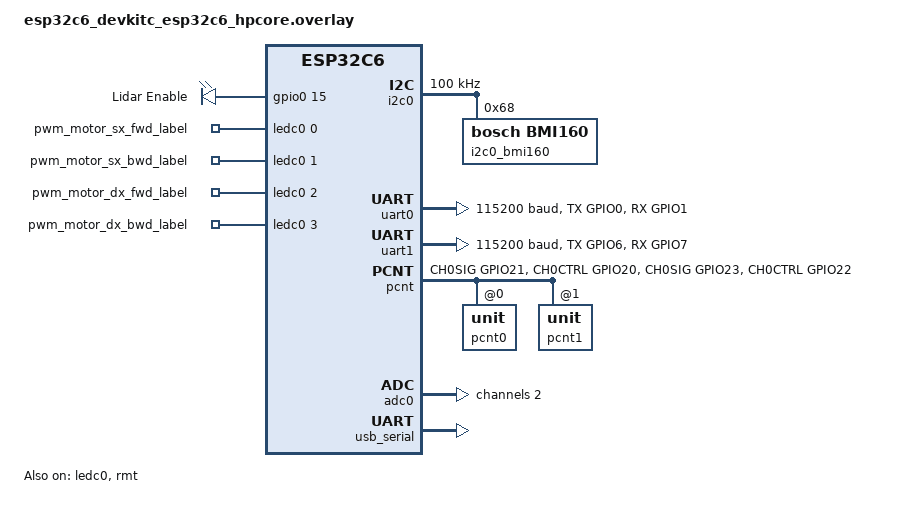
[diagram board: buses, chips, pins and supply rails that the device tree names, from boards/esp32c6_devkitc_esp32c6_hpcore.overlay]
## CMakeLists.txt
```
cmake_minimum_required(VERSION 3.20.0)

find_package(Zephyr REQUIRED HINTS $ENV{ZEPHYR_BASE})
project(robot_app)

set(DTS_ROOT ${CMAKE_CURRENT_SOURCE_DIR})

list(APPEND CMAKE_MODULE_PATH ${ZEPHYR_BASE}/modules/nanopb)
include(nanopb)

target_sources(app PRIVATE 
    src/main.cpp
    src/robot.cpp
    src/communication/zephyr_net_client.cpp
    src/communication/wifi_manager.cpp
    src/communication/protobuf_handler.cpp
    src/actuator/motor.cpp
    src/actuator/status_led.cpp
    src/diagnostic.cpp
    src/sensors/lidar.cpp
    src/sensors/imu.cpp
    src/sensors/battery.cpp
    src/sensors/encoders.cpp
    src/sensors/pcnt_reader.c
)

zephyr_nanopb_sources(app ../../proto/messages.proto)

target_include_directories(app PRIVATE src)
zephyr_include_directories(include)
add_subdirectory(drivers)

target_compile_options(app PRIVATE -fno-threadsafe-statics -fpermissive)
```

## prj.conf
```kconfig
# General config
CONFIG_PICOLIBC=y
CONFIG_CPP=y
CONFIG_STD_CPP20=y
CONFIG_FPU=n

# Bootloader (Using ESP Simple Boot for C6)
CONFIG_ESP_SIMPLE_BOOT=y
CONFIG_ESPTOOLPY_FLASHFREQ_40M=y
CONFIG_ESPTOOLPY_FLASHMODE_DIO=y
CONFIG_MAIN_STACK_SIZE=16384
CONFIG_IDLE_STACK_SIZE=2048
CONFIG_ISR_STACK_SIZE=4096
CONFIG_SYSTEM_WORKQUEUE_STACK_SIZE=8192
CONFIG_HEAP_MEM_POOL_SIZE=131072

# Logging
CONFIG_LOG=y
CONFIG_LOG_MODE_IMMEDIATE=y
CONFIG_LOG_DEFAULT_LEVEL=3
CONFIG_LOG_BACKEND_UART=y
CONFIG_LOG_PRINTK=y

# Console
CONFIG_CONSOLE=y
CONFIG_UART_CONSOLE=y
CONFIG_UART_ESP32=y
CONFIG_PRINTK=y
CONFIG_BOOT_BANNER=y

# Give the USB bridge time
CONFIG_BOOT_DELAY=500

# SERIAL (Internal USB-Serial-JTAG for /dev/ttyACM0)
CONFIG_SERIAL=y
CONFIG_UART_INTERRUPT_DRIVEN=y
CONFIG_SERIAL_ESP32_USB=y
CONFIG_UART_CONSOLE=y
CONFIG_UART_ESP32=y
CONFIG_LOG_BACKEND_UART=y

# Networking
CONFIG_NETWORKING=y
CONFIG_NET_L2_WIFI_MGMT=y
CONFIG_WIFI=y
CONFIG_WIFI_ESP32=y
CONFIG_NET_IPV4=y
CONFIG_NET_TCP=y
CONFIG_NET_UDP=y
CONFIG_NET_SOCKETS=y
CONFIG_NET_STATISTICS=y
CONFIG_NET_HOSTNAME_ENABLE=y
CONFIG_NET_HOSTNAME="robot.luca.home.arpa"

# WiFi static config via Manager
CONFIG_NET_CONFIG_SETTINGS=y
CONFIG_NET_CONFIG_MY_IPV4_ADDR="192.168.199.123"
CONFIG_NET_CONFIG_MY_IPV4_GW="192.168.199.254"
CONFIG_NET_CONFIG_MY_IPV4_NETMASK="255.255.255.0"

# Sensors
CONFIG_SENSOR=y
CONFIG_I2C=y
CONFIG_BMI160=y
CONFIG_BMI160_TRIGGER_NONE=y

# Peripherals
CONFIG_PWM=y
CONFIG_GPIO=y
CONFIG_ADC=y
CONFIG_PCNT_ESP32=y

# RMT LED
CONFIG_RMT_TX=y
CONFIG_RMT_TX_ESP32=y
CONFIG_RMT_TX_LOG_LEVEL_DBG=y
CONFIG_RMT_TX_INIT_PRIORITY=80
CONFIG_RMT_TX_CHANNEL_INIT_PRIORITY=90

# Protobuf (nanopb)
CONFIG_NANOPB=y
```

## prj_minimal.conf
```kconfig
# Minimal config for boot troubleshooting
CONFIG_NEWLIB_LIBC=y
CONFIG_CPP=y
CONFIG_STD_CPP20=y
CONFIG_FPU=n

# Bootloader
CONFIG_ESP_SIMPLE_BOOT=y
CONFIG_HEAP_MEM_POOL_SIZE=2048

# Logging
CONFIG_LOG=y
CONFIG_LOG_DEFAULT_LEVEL=4
CONFIG_LOG_MODE_IMMEDIATE=y
CONFIG_LOG_BACKEND_UART=y

# DISABLE EVERYTHING ELSE
CONFIG_NETWORKING=n
CONFIG_SENSOR=n
CONFIG_I2C=n
CONFIG_PWM=n
CONFIG_GPIO=y
CONFIG_ADC=n
CONFIG_PCNT_ESP32=n
CONFIG_NANOPB=n
```

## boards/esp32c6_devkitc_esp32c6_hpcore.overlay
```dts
#include <zephyr/dt-bindings/pinctrl/esp-pinctrl-common.h>
#include <zephyr/dt-bindings/pinctrl/esp32c6-pinctrl.h>
#include <zephyr/dt-bindings/pinctrl/esp32c6-gpio-sigmap.h>
#include <zephyr/dt-bindings/pwm/pwm.h>

/ {
    chosen {
        zephyr,console = &uart0;
        zephyr,shell-uart = &uart0;
    };

    /* Aliases for easy access in code */
    aliases {
        lidar-uart = &uart1;
        imu = &i2c0_bmi160;
        motor-sx-fwd-pwm = &pwm_motor_sx_fwd_label;
        motor-sx-bwd-pwm = &pwm_motor_sx_bwd_label;
        motor-dx-fwd-pwm = &pwm_motor_dx_fwd_label;
        motor-dx-bwd-pwm = &pwm_motor_dx_bwd_label;
        encoder-sx = &pcnt;
        encoder-dx = &pcnt;
        status-led = &rmt_led;
        lidar-en = &lidar_en_gpio;
    };

    soc {
        rmt: rmt@60006000 {
            compatible = "espressif,esp32-rmt-tx";
            reg = <0x60006000 0x1000>;
            interrupts = <10 0 0>;
            interrupt-parent = <&intc>;
            clocks = <&clock 9>;
            #address-cells = <1>;
            #size-cells = <0>;
            status = "okay";
            pinctrl-0 = <&rmt_default>;
            pinctrl-names = "default";

            rmt_led: channel@0 {
                reg = <0>;
                label = "rmt_led";
                gpios = <&gpio0 8 GPIO_ACTIVE_HIGH>;
            };
        };
    };

    lidar_ctrl {
        compatible = "gpio-leds";
        lidar_en_gpio: lidar_en {
            gpios = <&gpio0 15 GPIO_ACTIVE_HIGH>;
            label = "Lidar Enable";
        };
    };

    pwm_motors {
        compatible = "pwm-leds";
        pwm_motor_sx_fwd_label: motor_sx_fwd {
            pwms = <&ledc0 0 50000 PWM_POLARITY_NORMAL>;
        };
        pwm_motor_sx_bwd_label: motor_sx_bwd {
            pwms = <&ledc0 1 50000 PWM_POLARITY_NORMAL>;
        };
        pwm_motor_dx_fwd_label: motor_dx_fwd {
            pwms = <&ledc0 2 50000 PWM_POLARITY_NORMAL>;
        };
        pwm_motor_dx_bwd_label: motor_dx_bwd {
            pwms = <&ledc0 3 50000 PWM_POLARITY_NORMAL>;
        };
    };
};

&pinctrl {
    i2c0_default: i2c0_default {
        group1 {
            pinmux = <I2C0_SDA_GPIO4>,
                     <I2C0_SCL_GPIO5>;
            bias-pull-up;
            drive-open-drain;
            output-enable;
        };
    };

    uart0_default: uart0_default {
        group1 {
            pinmux = <UART0_TX_GPIO0>,
                     <UART0_RX_GPIO1>;
        };
    };

    uart0_sleep: uart0_sleep {
        group1 {
            pinmux = <UART0_TX_GPIO0>,
                     <UART0_RX_GPIO1>;
        };
    };

    uart1_default: uart1_default {
        group1 {
            pinmux = <UART1_TX_GPIO6>;
        };
        group2 {
            pinmux = <UART1_RX_GPIO7>;
            bias-pull-up;
        };
    };

    uart1_sleep: uart1_sleep {
        group1 {
            pinmux = <UART1_TX_GPIO6>,
                     <UART1_RX_GPIO7>;
        };
    };

    ledc0_default: ledc0_default {
        group1 {
            pinmux = <LEDC_CH0_GPIO19>,
                     <LEDC_CH1_GPIO18>,
                     <LEDC_CH2_GPIO11>,
                     <LEDC_CH3_GPIO10>;
            output-enable;
        };
    };

    pcnt_default: pcnt_default {
        group1 {
            pinmux = <PCNT0_CH0SIG_GPIO21>,
                     <PCNT0_CH0CTRL_GPIO20>,
                     <PCNT1_CH0SIG_GPIO23>,
                     <PCNT1_CH0CTRL_GPIO22>;
            bias-pull-up;
        };
    };

    rmt_default: rmt_default {
        group1 {
            pinmux = <ESP32_PINMUX(8, ESP_NOSIG, ESP_RMT_SIG_OUT0)>;
            output-enable;
        };
    };
};

&i2c0 {
    status = "okay";
    pinctrl-0 = <&i2c0_default>;
    pinctrl-names = "default";
    clock-frequency = <I2C_BITRATE_STANDARD>;

    i2c0_bmi160: bmi160@68 {
        compatible = "bosch,bmi160";
        reg = <0x68>;
        status = "okay";
    };
};

&uart0 {
    status = "okay";
    pinctrl-0 = <&uart0_default>;
    pinctrl-1 = <&uart0_sleep>;
    pinctrl-names = "default", "sleep";
    current-speed = <115200>;
};

&uart1 {
    status = "okay";
    pinctrl-0 = <&uart1_default>;
    pinctrl-1 = <&uart1_sleep>;
    pinctrl-names = "default", "sleep";
    current-speed = <115200>;
};

&ledc0 {
    status = "okay";
    pinctrl-0 = <&ledc0_default>;
    pinctrl-names = "default";
    #address-cells = <1>;
    #size-cells = <0>;

    pwm_motor_sx_fwd: channel@0 {
        reg = <0>;
        timer = <0>;
    };

    pwm_motor_sx_bwd: channel@1 {
        reg = <1>;
        timer = <0>;
    };

    pwm_motor_dx_fwd: channel@2 {
        reg = <2>;
        timer = <0>;
    };

    pwm_motor_dx_bwd: channel@3 {
        reg = <3>;
        timer = <0>;
    };
};

&pcnt {
    pinctrl-0 = <&pcnt_default>;
    pinctrl-names = "default";
    status = "okay";
    #address-cells = <1>;
    #size-cells = <0>;
    pcnt0: unit@0 {
        reg = <0>;
        #address-cells = <1>;
        #size-cells = <0>;
        filter = <100>;
        channelA@0 {
            reg = <0>;
            sig-pos-mode = <2>;
            sig-neg-mode = <1>;
            ctrl-h-mode = <0>;
            ctrl-l-mode = <1>;
        };
    };
    pcnt1: unit@1 {
        reg = <1>;
        #address-cells = <1>;
        #size-cells = <0>;
        filter = <100>;
        channelA@0 {
            reg = <0>;
            sig-pos-mode = <2>;
            sig-neg-mode = <1>;
            ctrl-h-mode = <0>;
            ctrl-l-mode = <1>;
        };
    };
};

&adc0 {
    status = "okay";
    #address-cells = <1>;
    #size-cells = <0>;

    channel@2 {
        reg = <2>;
        zephyr,gain = "ADC_GAIN_1_4";
        zephyr,reference = "ADC_REF_INTERNAL";
        zephyr,acquisition-time = <ADC_ACQ_TIME_DEFAULT>;
        zephyr,resolution = <12>;
    };
};

&usb_serial {
    status = "okay";
};
```

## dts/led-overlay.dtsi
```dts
// Device tree overlay for LED definition for T-Watch S3 board

/ {
        aliases {
                led0 = &led_gpio0;
        };

        led_gpio0: led_gpio0 {
                compatible = "gpio-leds";
                led0_gpio {
                        gpios = <&gpio0 45 GPIO_ACTIVE_HIGH>;
                        label = "Onboard LED";
                };
        };
};
```

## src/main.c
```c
#include <zephyr/kernel.h>

extern int esp_rom_printf(const char *fmt, ...);

int main(void)
{
    while (1) {
        for (volatile int i = 0; i < 5000000; i++);
        esp_rom_printf("ALIVE ROM\n");
    }
    return 0;
}
```

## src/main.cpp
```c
#include <zephyr/kernel.h>
#include <zephyr/sys/printk.h>
#include "robot.h"
#include "constants.h"

extern "C" {
#include <esp_rom_sys.h>
}

static Robot robot;

extern "C" int main(void)
{
    esp_rom_printf("\n\n--- HomeRobot Zephyr Entry Point ---\n");
    k_sleep(K_MSEC(500));

    robot.setup();

    while (1) {
        robot.loop();
        k_msleep(constants::MAIN_LOOP_DELAY_MS);
    }

	return 0;
}
```

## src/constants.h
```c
#pragma once

#include <zephyr/kernel.h>

namespace constants {
    // Telemetry Intervals (milliseconds)
    constexpr uint32_t HEARTBEAT_INTERVAL_MS = 1000;
    constexpr uint32_t ENCODER_TELEMETRY_INTERVAL_MS = 1000;
    constexpr uint32_t BATTERY_TELEMETRY_INTERVAL_MS = 30000;
    
    // Lidar Configuration
    constexpr size_t LIDAR_BATCH_SIZE = 30;
    constexpr float LIDAR_DEFAULT_FREQ_HZ = 5.0f;

    // Networking
    constexpr uint32_t WIFI_CONNECT_TIMEOUT_MS = 30000;
    constexpr uint32_t SERVER_RECONNECT_INTERVAL_MS = 5000;

    // Main Loop
    constexpr uint32_t MAIN_LOOP_DELAY_MS = 10; // 100Hz loop
}
```

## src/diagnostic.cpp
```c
#include "diagnostic.h"
#include <zephyr/logging/log.h>
#include <zephyr/kernel.h>
#include <math.h>
#include <stdio.h>
#include <string.h>

LOG_MODULE_REGISTER(Diagnostic, LOG_LEVEL_INF);

Diagnostic::Diagnostic(Motor& left_motor, Motor& right_motor, Imu& imu, 
                       Battery& battery, StatusLed& led)
    : left_motor_(left_motor), right_motor_(right_motor), imu_(imu), 
      battery_(battery), led_(led) {}

void Diagnostic::add_check(homerobot_DiagnosticResult& result, const char* name, bool success, const char* msg) {
    if (result.checks_count < 5) {
        homerobot_DiagnosticCheck& check = result.checks[result.checks_count++];
        strncpy(check.name, name, sizeof(check.name) - 1);
        check.name[sizeof(check.name) - 1] = '\0';
        check.success = success;
        strncpy(check.message, msg, sizeof(check.message) - 1);
        check.message[sizeof(check.message) - 1] = '\0';
    }
}

homerobot_DiagnosticResult Diagnostic::run_rpc() {
    homerobot_DiagnosticResult result = homerobot_DiagnosticResult_init_default;
    result.checks_count = 0;
    
    // Stop motors and lidar before test
    left_motor_.turn_off();
    right_motor_.turn_off();

    bool battery_ok = test_battery(&result);
    bool imu_ok = test_imu(&result);
    bool motors_ok = false;

    if (battery_ok) {
        motors_ok = test_motors_and_encoders(&result);
    } else {
        add_check(result, "Motors", false, "Skipped due to low battery");
    }

    result.all_ok = battery_ok && imu_ok && motors_ok;
    return result;
}

bool Diagnostic::run_all() {
    LOG_INF( "--- STARTING HARDWARE DIAGNOSTICS ---");
    
    // 1. LED Test: Visual confirmation
    led_.set_color(0, 0, 50); // Blue for "Testing"
    k_msleep(500);
    led_.set_color(0, 50, 0); // Green for "Starting"
    k_msleep(500);
    led_.set_color(0, 0, 0);

    bool battery_ok = test_battery();
    bool imu_ok = test_imu();
    
    if (!battery_ok) {
        LOG_ERR( "Critical: Battery test failed!");
        led_.set_color(50, 0, 0); // Solid Red
        return false;
    }

    if (!imu_ok) {
        LOG_WRN( "Warning: IMU test failed!");
    }

    bool motors_ok = test_motors_and_encoders();

    if (battery_ok && imu_ok && motors_ok) {
        LOG_INF( "--- DIAGNOSTICS COMPLETED: ALL OK ---");
        led_.set_color(0, 50, 0); // Success Green
        k_msleep(1000);
        return true;
    } else {
        LOG_WRN( "--- DIAGNOSTICS COMPLETED: ERRORS FOUND ---");
        led_.set_color(50, 25, 0); // Warning Orange
        k_msleep(1000);
        return false;
    }
}

bool Diagnostic::test_battery(homerobot_DiagnosticResult* result) {
    uint32_t mv = battery_.get_voltage_mv();
    uint32_t pct = battery_.get_percentage();
    LOG_INF( "Battery: %u mV (%u%%)", mv, pct);

    char msg[128];
    snprintf(msg, sizeof(msg), "Voltage: %u mV, %u%%", mv, pct);

    if (mv < 10000) { 
        LOG_ERR( "Battery voltage dangerously low or not detected!");
        if (result) add_check(*result, "Battery", false, msg);
        return false;
    }
    if (result) add_check(*result, "Battery", true, msg);
    return true;
}

bool Diagnostic::test_imu(homerobot_DiagnosticResult* result) {
    LOG_INF("IMU: Starting detailed check...");
    if (!imu_.update()) {
        LOG_ERR( "IMU: Communication failed! (sample_fetch error)");
        if (result) add_check(*result, "IMU", false, "Communication failed");
        return false;
    }

    float ax, ay, az, gx, gy, gz;
    imu_.get_accel(ax, ay, az);
    imu_.get_gyro(gx, gy, gz);
    
    float total_g = sqrt(ax*ax + ay*ay + az*az);
    
    LOG_INF("IMU: Raw Accel -> X: %.3f, Y: %.3f, Z: %.3f (Total: %.3f m/s^2)", (double)ax, (double)ay, (double)az, (double)total_g);
    LOG_INF("IMU: Raw Gyro  -> X: %.3f, Y: %.3f, Z: %.3f", (double)gx, (double)gy, (double)gz);

    char msg[128];
    snprintf(msg, sizeof(msg), "Acc:%.1f G:%.1f Gyro:%.1f", (double)total_g, (double)(total_g/9.81), (double)sqrt(gx*gx + gy*gy + gz*gz));

    if (total_g < 7.0f || total_g > 13.0f) {
        LOG_WRN( "IMU: Gravity vector (%.2f) outside Earth normal range [7, 13]", (double)total_g);
        if (result) add_check(*result, "IMU", false, msg);
        return false;
    }
    
    LOG_INF("IMU: Sensor health OK.");
    if (result) add_check(*result, "IMU", true, msg);
    return true;
}

bool Diagnostic::test_motors_and_encoders(homerobot_DiagnosticResult* result) {
    LOG_INF( "Starting Motor/Encoder sequential test...");
    
    bool left_ok = test_single_motor(left_motor_, "Left Motor (SX)", result);
    k_msleep(500); // Brief pause between motor tests
    bool right_ok = test_single_motor(right_motor_, "Right Motor (DX)", result);

    return left_ok && right_ok;
}

bool Diagnostic::test_single_motor(Motor& motor, const char* name, homerobot_DiagnosticResult* result) {
    LOG_INF( "Testing %s...", name);
    
    // Get baseline IMU for vibration detection
    imu_.update();
    float bax, bay, baz;
    imu_.get_accel(bax, bay, baz);
    
    VibrationMetrics vib;
    vib.reset();

    motor.set_position(0);
    int32_t start_pos = motor.get_position();
    
    // Forward test
    motor.set_motor(FORWARD, 100);
    for (int i = 0; i < 5; i++) {
        k_msleep(100);
        sample_vibration(vib, bax, bay, baz);
    }
    
    motor.set_motor(BRAKE, 0);
    k_msleep(200);
    int32_t fwd_pos = motor.get_position();
    int32_t fwd_diff = fwd_pos - start_pos;
    
    // Backward test
    motor.set_motor(BACKWARD, 100);
    for (int i = 0; i < 5; i++) {
        k_msleep(100);
        sample_vibration(vib, bax, bay, baz);
    }

    motor.set_motor(BRAKE, 0);
    k_msleep(200);
    int32_t bwd_pos = motor.get_position();
    int32_t bwd_diff = bwd_pos - fwd_pos;
    
    bool fwd_ok = fwd_diff > 10;
    bool bwd_ok = bwd_diff < -10;
    
    // Health assessment based on vibration
    // Values are heuristic: > 5.0g deviation is very high, > 20 rad/s gyro is very high.
    bool vib_ok = vib.max_acc_vibration < 5.0f && vib.max_gyro_vibration < 15.0f;

    char msg[128];
    snprintf(msg, sizeof(msg), "Fwd:%d Bwd:%d Vib:%.1f/%.1f", 
             fwd_diff, bwd_diff, (double)vib.max_acc_vibration, (double)vib.max_gyro_vibration);

    if (!fwd_ok || !bwd_ok) {
        LOG_ERR( "%s: Failed motion test (%s)", name, msg);
        if (result) add_check(*result, name, false, msg);
        return false;
    }

    if (!vib_ok) {
        LOG_WRN( "%s: High vibration detected! (%s)", name, msg);
        // We still pass the test but report the warning in the message
    }

    if (result) add_check(*result, name, true, msg);
    return true;
}

void Diagnostic::sample_vibration(VibrationMetrics& metrics, float bax, float bay, float baz) {
    if (imu_.update()) {
        float ax, ay, az, gx, gy, gz;
        imu_.get_accel(ax, ay, az);
        imu_.get_gyro(gx, gy, gz);
        
        // Deviation from baseline gravity vector
        float dev_acc = sqrtf(powf(ax - bax, 2) + powf(ay - bay, 2) + powf(az - baz, 2));
        float dev_gyro = sqrtf(gx*gx + gy*gy + gz*gz);
        
        if (dev_acc > metrics.max_acc_vibration) metrics.max_acc_vibration = dev_acc;
        if (dev_gyro > metrics.max_gyro_vibration) metrics.max_gyro_vibration = dev_gyro;

        LOG_DBG( "  [Vib Sample] Acc Dev: %.2f Gyro: %.2f", (double)dev_acc, (double)dev_gyro);
    }
}
```

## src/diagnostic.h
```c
#pragma once

#include "actuator/motor.h"
#include "actuator/status_led.h"
#include "sensors/imu.h"
#include "sensors/battery.h"
#include "sensors/encoders.h"
#include <messages.pb.h>

class Diagnostic {
public:
    Diagnostic(Motor& left_motor, Motor& right_motor, Imu& imu, 
               Battery& battery, StatusLed& led);

    /**
     * @brief Runs the full suite of hardware diagnostics.
     * @return true if all critical tests pass, false otherwise.
     */
    bool run_all();

    /**
     * @brief Runs the diagnostics and returns the result as a Protobuf struct.
     */
    homerobot_DiagnosticResult run_rpc();

private:
    Motor &left_motor_, &right_motor_;
    Imu &imu_;
    Battery &battery_;
    StatusLed &led_;

    void add_check(homerobot_DiagnosticResult& result, const char* name, bool success, const char* msg);

    bool test_battery(homerobot_DiagnosticResult* result = nullptr);
    bool test_imu(homerobot_DiagnosticResult* result = nullptr);
    bool test_motors_and_encoders(homerobot_DiagnosticResult* result = nullptr);
    
    // Helper for individual motor test
    bool test_single_motor(Motor& motor, const char* name, homerobot_DiagnosticResult* result = nullptr);
    
    struct VibrationMetrics {
        float max_acc_vibration = 0; // Max deviation from baseline
        float max_gyro_vibration = 0;
        void reset() { max_acc_vibration = 0; max_gyro_vibration = 0; }
    };

    void sample_vibration(VibrationMetrics& metrics, float baseline_ax, float baseline_ay, float baseline_az);
};
```

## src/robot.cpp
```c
#include "robot.h"
#include <zephyr/logging/log.h>
#include <zephyr/sys/printk.h>
#include "secrets.h"
#include "constants.h"

LOG_MODULE_REGISTER(robot, LOG_LEVEL_INF);

using namespace constants;

// Define static DT specs
const struct device *const Robot::lidar_uart_dev = DEVICE_DT_GET(DT_ALIAS(lidar_uart));
const struct gpio_dt_spec Robot::lidar_en_gpio = GPIO_DT_SPEC_GET(DT_ALIAS(lidar_en), gpios);
const struct device *const Robot::adc_dev = DEVICE_DT_GET(DT_NODELABEL(adc0));
const struct device *const Robot::imu_dev = DEVICE_DT_GET(DT_ALIAS(imu));
const struct pwm_dt_spec Robot::motor_sx_fwd = PWM_DT_SPEC_GET(DT_ALIAS(motor_sx_fwd_pwm));
const struct pwm_dt_spec Robot::motor_sx_bwd = PWM_DT_SPEC_GET(DT_ALIAS(motor_sx_bwd_pwm));
const struct pwm_dt_spec Robot::motor_dx_fwd = PWM_DT_SPEC_GET(DT_ALIAS(motor_dx_fwd_pwm));
const struct pwm_dt_spec Robot::motor_dx_bwd = PWM_DT_SPEC_GET(DT_ALIAS(motor_dx_bwd_pwm));
const struct device *const Robot::encoder_dev = DEVICE_DT_GET(DT_ALIAS(encoder_sx));

Robot::Robot()
    : status_led_(),
      battery_(adc_dev, 2),
      lidar_(lidar_uart_dev, &lidar_en_gpio),
      imu_(imu_dev),
      enc_sx_(encoder_dev, 0),
      enc_dx_(encoder_dev, 1),
      motor_sx_("SX", &motor_sx_fwd, &motor_sx_bwd, &enc_sx_),
      motor_dx_("DX", &motor_dx_fwd, &motor_dx_bwd, &enc_dx_),
      wifi_(WifiManager::instance()),
      net_client_(),
      proto_handler_(net_client_),
      diagnostic_(motor_sx_, motor_dx_, imu_, battery_, status_led_) {
    LOG_DBG("Robot object constructed");
}

void Robot::setup() {
    LOG_INF("--- Robot State Machine Starting ---");
    status_led_.init();
    battery_.init();
    LOG_INF("Initial State: %s", state_to_string(state_));
}

void Robot::set_state(RobotState new_state) {
    if (state_ == new_state) return;
    LOG_INF("State Transition: %s -> %s", state_to_string(state_), state_to_string(new_state));
    state_ = new_state;
}

const char* Robot::state_to_string(RobotState state) {
    switch (state) {
        case RobotState::POWER_CHECK: return "POWER_CHECK";
        case RobotState::INITIALIZE_HARDWARE: return "INITIALIZE_HARDWARE";
        case RobotState::WIFI_CONNECTING: return "WIFI_CONNECTING";
        case RobotState::SERVER_CONNECTING: return "SERVER_CONNECTING";
        case RobotState::OPERATIONAL: return "OPERATIONAL";
        default: return "UNKNOWN";
    }
}

void Robot::loop() {
    switch (state_) {
        case RobotState::POWER_CHECK:
            handle_power_check();
            break;
        case RobotState::INITIALIZE_HARDWARE:
            handle_initialize_hardware();
            break;
        case RobotState::WIFI_CONNECTING:
            handle_wifi_connecting();
            break;
        case RobotState::SERVER_CONNECTING:
            handle_server_connecting();
            break;
        case RobotState::OPERATIONAL:
            handle_operational();
            break;
    }
    lidar_.loop(&proto_handler_);
    status_led_.update();
}

void Robot::handle_power_check() {
    uint32_t voltage = battery_.get_voltage_mv();
    if (voltage < 10000) {
        status_led_.set_status(RobotStatus::LOW_BATTERY);
        static uint32_t last_log = 0;
        if (k_uptime_get_32() - last_log > 2000) {
            LOG_WRN("LOW POWER: %u mV - Please turn on battery switch", voltage);
            last_log = k_uptime_get_32();
        }
    } else {
        LOG_INF("Power OK: %u mV", voltage);
        set_state(RobotState::INITIALIZE_HARDWARE);
    }
}

void Robot::handle_initialize_hardware() {
    LOG_INF("Initializing hardware components...");
    enc_sx_.init();
    enc_dx_.init();
    imu_.init();
    LOG_INF("Initializing Lidar...");
    lidar_.init();
    motor_sx_.init(motor_kp_, motor_ki_, motor_kd_);
    motor_dx_.init(motor_kp_, motor_ki_, motor_kd_);

    LOG_INF("Hardware ready. Starting Wi-Fi connection...");
    wifi_.connect(wifi_ssid, wifi_password);
    status_led_.set_status(RobotStatus::NO_WIFI);

    set_state(RobotState::WIFI_CONNECTING);
}

void Robot::handle_wifi_connecting() {
    if (wifi_.is_connected()) {
        LOG_INF("Wi-Fi connected.");
        set_state(RobotState::SERVER_CONNECTING);
    } else {
        status_led_.set_status(RobotStatus::NO_WIFI);
        // Wi-Fi manager handles retries automatically based on its implementation
    }
}

void Robot::handle_server_connecting() {
    if (!wifi_.is_connected()) {
        LOG_WRN("Wi-Fi lost while connecting to server.");
        set_state(RobotState::WIFI_CONNECTING);
        return;
    }

    status_led_.set_status(RobotStatus::WIFI_ONLY);
    LOG_INF("Connecting to server: %s:%d", wifi_server_host, wifi_server_port);

    if (net_client_.connect(wifi_server_host, wifi_server_port)) {
        LOG_INF("CONNECTED to server at %s:%d", wifi_server_host, wifi_server_port);
        status_led_.set_status(RobotStatus::CONNECTED);
        
        // Send current config on connection
        proto_handler_.send_robot_config(k_uptime_get_32(),
            motor_kp_, motor_ki_, motor_kd_, motor_kp_, motor_ki_, motor_kd_);
        
        set_state(RobotState::OPERATIONAL);
    } else {
        LOG_ERR("Server connection failed, retrying...");
        // Call telemetry even while connecting to see serial logs
        send_telemetry();
        k_sleep(K_MSEC(2000));
    }
}

void Robot::handle_operational() {
    if (!wifi_.is_connected()) {
        LOG_WRN("Wi-Fi lost, reconnecting...");
        motor_sx_.set_motor(BRAKE, 0);
        motor_dx_.set_motor(BRAKE, 0);
        set_state(RobotState::WIFI_CONNECTING);
        return;
    }

    if (!net_client_.connected()) {
        LOG_WRN("Server connection lost, reconnecting...");
        motor_sx_.set_motor(BRAKE, 0);
        motor_dx_.set_motor(BRAKE, 0);
        set_state(RobotState::SERVER_CONNECTING);
        return;
    }

    // 1. Process incoming commands
    process_commands();

    // 2. Periodic telemetry
    send_telemetry();
}

void Robot::process_commands() {
    homerobot_ServerToRobotMessage rx_msg;
    while (proto_handler_.receive_and_decode(rx_msg)) {
        handle_server_message(rx_msg);
    }
}

void Robot::handle_server_message(homerobot_ServerToRobotMessage& msg) {
    if (msg.which_payload == homerobot_ServerToRobotMessage_motor_move_tag) {
        int lp = (int)msg.payload.motor_move.left_power;
        int rp = (int)msg.payload.motor_move.right_power;
        float la = msg.payload.motor_move.left_angle;
        float ra = msg.payload.motor_move.right_angle;

        if (lp == 0) motor_sx_.set_motor(BRAKE, 0);
        else motor_sx_.set_motor(la >= 0 ? FORWARD : BACKWARD, (uint8_t)lp);

        if (rp == 0) motor_dx_.set_motor(BRAKE, 0);
        else motor_dx_.set_motor(ra >= 0 ? FORWARD : BACKWARD, (uint8_t)rp);
    }
    else if (msg.which_payload == homerobot_ServerToRobotMessage_motor_config_tag) {
        if (msg.payload.motor_config.has_left_motor) {
            motor_kp_ = msg.payload.motor_config.left_motor.kp;
            motor_ki_ = msg.payload.motor_config.left_motor.ki;
            motor_kd_ = msg.payload.motor_config.left_motor.kd;
            motor_sx_.init(motor_kp_, motor_ki_, motor_kd_);
            motor_dx_.init(motor_kp_, motor_ki_, motor_kd_);
            LOG_INF("PID UPDATED: P=%.3f I=%.3f D=%.3f", (double)motor_kp_, (double)motor_ki_, (double)motor_kd_);
        }
    }
    else if (msg.which_payload == homerobot_ServerToRobotMessage_rpc_request_tag) {
        diagnostic_.run_rpc();
        proto_handler_.send_rpc_response(k_uptime_get_32(), msg.payload.rpc_request.call_id, nullptr, 0);
    }
    else if (msg.which_payload == homerobot_ServerToRobotMessage_lidar_control_tag) {
        bool active = msg.payload.lidar_control.active;
        LOG_INF("RPC: Lidar control received: active=%s", active ? "true" : "false");
        if (active) lidar_.start();
        else lidar_.stop();
    }
    else if (msg.which_payload == homerobot_ServerToRobotMessage_stop_all_tag) {
        LOG_INF("RPC: Stop all received");
        motor_sx_.set_motor(BRAKE, 0);
        motor_dx_.set_motor(BRAKE, 0);
        lidar_.stop();
    }
}

void Robot::send_telemetry() {
    uint32_t now = k_uptime_get_32();

    // Fast telemetry (IMU & Encoders) - 100ms
    if (now - last_fast_telemetry_ms_ >= 100) {
        bool imu_ok = imu_.update();
        float ax = 0, ay = 0, az = 0, gx = 0, gy = 0, gz = 0;
        
        if (imu_ok) {
            imu_.get_accel(ax, ay, az);
            imu_.get_gyro(gx, gy, gz);
            proto_handler_.send_imu_data(now, ax, ay, az, gx, gy, gz);
        }
        proto_handler_.send_encoders_data(now, enc_sx_.get_total_ticks(), enc_dx_.get_total_ticks());
        last_fast_telemetry_ms_ = now;

        // Serial log for IMU - 1000ms
        if (now - last_imu_log_ms_ >= 1000) {
            if (imu_ok) {
                LOG_INF("[IMU] Acc: X=%.2f Y=%.2f Z=%.2f | Gyro: X=%.2f Y=%.2f Z=%.2f", 
                               (double)ax, (double)ay, (double)az, (double)gx, (double)gy, (double)gz);
            } else {
                LOG_ERR("[IMU] ERROR: Failed to update sensor data");
            }
            last_imu_log_ms_ = now;
        }
    }

    // Slow telemetry (Battery) - 5000ms
    if (now - last_telemetry_ms_ >= 5000) {
        proto_handler_.send_battery_status(now, battery_.get_percentage(), 
                                           battery_.get_voltage_mv(), battery_.read_raw());
        last_telemetry_ms_ = now;
    }
}
```

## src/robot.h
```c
#pragma once

#include <zephyr/kernel.h>
#include <zephyr/drivers/gpio.h>
#include <zephyr/drivers/pwm.h>
#include <zephyr/drivers/adc.h>

#include "actuator/status_led.h"
#include "actuator/motor.h"
#include "sensors/lidar.h"
#include "sensors/battery.h"
#include "sensors/encoders.h"
#include "sensors/imu.h"
#include "communication/wifi_manager.h"
#include "communication/zephyr_net_client.h"
#include "communication/protobuf_handler.h"
#include "diagnostic.h"

enum class RobotState {
    POWER_CHECK,
    INITIALIZE_HARDWARE,
    WIFI_CONNECTING,
    SERVER_CONNECTING,
    OPERATIONAL
};

class Robot {
public:
    Robot();
    void setup();
    void loop();

private:
    // State machine
    RobotState state_ = RobotState::POWER_CHECK;
    void set_state(RobotState new_state);
    const char* state_to_string(RobotState state);
    void handle_power_check();
    void handle_initialize_hardware();
    void handle_wifi_connecting();
    void handle_server_connecting();
    void handle_operational();

    // Helpers
    void send_telemetry();
    void process_commands();
    void handle_server_message(homerobot_ServerToRobotMessage& msg);

    // Hardware Components
    StatusLed status_led_;
    Battery battery_;
    Lidar lidar_;
    Imu imu_;
    Encoders enc_sx_;
    Encoders enc_dx_;
    Motor motor_sx_;
    Motor motor_dx_;

    // Communication
    WifiManager& wifi_;
    ZephyrNetClient net_client_;
    ProtobufHandler proto_handler_;
    Diagnostic diagnostic_;

    // Configuration & State
    float motor_kp_ = 1.0f;
    float motor_ki_ = 0.01f;
    float motor_kd_ = 0.1f;

    uint32_t last_telemetry_ms_ = 0;
    uint32_t last_fast_telemetry_ms_ = 0;
    uint32_t last_imu_log_ms_ = 0;

    // DT Specs (passed to constructors in initializer list)
    static const struct device *const lidar_uart_dev;
    static const struct gpio_dt_spec lidar_en_gpio;
    static const struct device *const adc_dev;
    static const struct device *const imu_dev;
    static const struct pwm_dt_spec motor_sx_fwd;
    static const struct pwm_dt_spec motor_sx_bwd;
    static const struct pwm_dt_spec motor_dx_fwd;
    static const struct pwm_dt_spec motor_dx_bwd;
    static const struct device *const encoder_dev;
};
```

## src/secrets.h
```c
#pragma once

#include <cstdint>

inline const char* wifi_ssid = "YOUR_WIFI_SSID";
inline const char* wifi_password = "YOUR_WIFI_PASSWORD";

// Server details
inline const char* wifi_server_host = "192.168.1.1";
inline constexpr uint16_t wifi_server_port = 12345;
```
